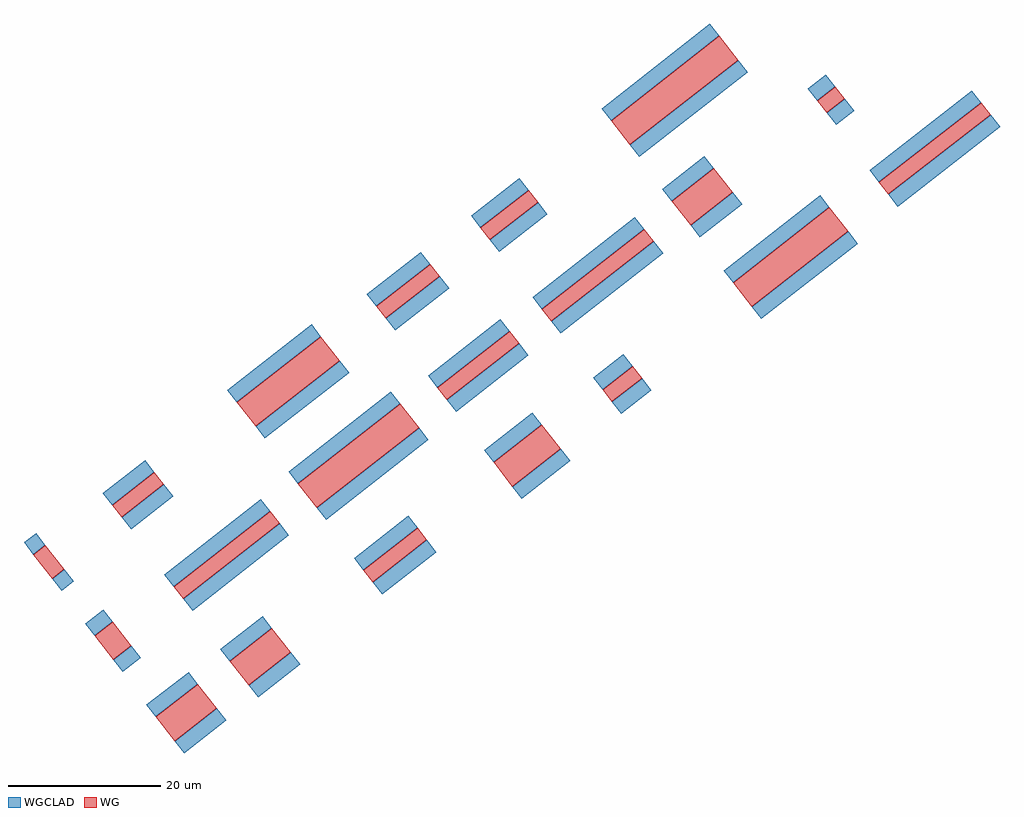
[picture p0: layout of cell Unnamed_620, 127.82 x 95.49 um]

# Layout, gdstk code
from math import pi, radians
import gdstk
lib = gdstk.Library(unit=1e-6, precision=1e-09)
def R(c, l, rs):  # rectangles x0, y0, x1, y1
    for r in rs: c.add(gdstk.rectangle(r[:2], r[2:], *l))
WG = (1, 0)
WGCLAD = (111, 0)

straight_w4000_l18000_lw = lib.new_cell('straight_W4000_L18000_LWG_EWGSTD')
R(straight_w4000_l18000_lw, WG, [(0,-2,18,2)])
R(straight_w4000_l18000_lw, WGCLAD, [(0,-4,18,-2), (0,2,18,4)])

straight_w2000_l8000_lwg = lib.new_cell('straight_W2000_L8000_LWG_EWGSTD')
R(straight_w2000_l8000_lwg, WG, [(0,-1,8,1)])
R(straight_w2000_l8000_lwg, WGCLAD, [(0,-3,8,-1), (0,1,8,3)])

straight_w4000_l14000_lw = lib.new_cell('straight_W4000_L14000_LWG_EWGSTD')
R(straight_w4000_l14000_lw, WG, [(0,-2,14,2)])
R(straight_w4000_l14000_lw, WGCLAD, [(0,-4,14,-2), (0,2,14,4)])

straight_w2000_l5000_lwg = lib.new_cell('straight_W2000_L5000_LWG_EWGSTD')
R(straight_w2000_l5000_lwg, WG, [(0,-1,5,1)])
R(straight_w2000_l5000_lwg, WGCLAD, [(0,-3,5,-1), (0,1,5,3)])

straight_w4000_l17000_lw = lib.new_cell('straight_W4000_L17000_LWG_EWGSTD')
R(straight_w4000_l17000_lw, WG, [(0,-2,17,2)])
R(straight_w4000_l17000_lw, WGCLAD, [(0,-4,17,-2), (0,2,17,4)])

straight_w4000_l8000_lwg = lib.new_cell('straight_W4000_L8000_LWG_EWGSTD')
R(straight_w4000_l8000_lwg, WG, [(0,-2,8,2)])
R(straight_w4000_l8000_lwg, WGCLAD, [(0,-4,8,-2), (0,2,8,4)])

straight_w2000_l17000_lw = lib.new_cell('straight_W2000_L17000_LWG_EWGSTD')
R(straight_w2000_l17000_lw, WG, [(0,-1,17,1)])
R(straight_w2000_l17000_lw, WGCLAD, [(0,-3,17,-1), (0,1,17,3)])

straight_w4000_l16000_lw = lib.new_cell('straight_W4000_L16000_LWG_EWGSTD')
R(straight_w4000_l16000_lw, WG, [(0,-2,16,2)])
R(straight_w4000_l16000_lw, WGCLAD, [(0,-4,16,-2), (0,2,16,4)])

straight_w4000_l7000_lwg = lib.new_cell('straight_W4000_L7000_LWG_EWGSTD')
R(straight_w4000_l7000_lwg, WG, [(0,-2,7,2)])
R(straight_w4000_l7000_lwg, WGCLAD, [(0,-4,7,-2), (0,2,7,4)])

straight_w4000_l3000_lwg = lib.new_cell('straight_W4000_L3000_LWG_EWGSTD')
R(straight_w4000_l3000_lwg, WG, [(0,-2,3,2)])
R(straight_w4000_l3000_lwg, WGCLAD, [(0,-4,3,-2), (0,2,3,4)])

straight_w2000_l9000_lwg = lib.new_cell('straight_W2000_L9000_LWG_EWGSTD')
R(straight_w2000_l9000_lwg, WG, [(0,-1,9,1)])
R(straight_w2000_l9000_lwg, WGCLAD, [(0,-3,9,-1), (0,1,9,3)])

straight_w2000_l16000_lw = lib.new_cell('straight_W2000_L16000_LWG_EWGSTD')
R(straight_w2000_l16000_lw, WG, [(0,-1,16,1)])
R(straight_w2000_l16000_lw, WGCLAD, [(0,-3,16,-1), (0,1,16,3)])

straight_w2000_l12000_lw = lib.new_cell('straight_W2000_L12000_LWG_EWGSTD')
R(straight_w2000_l12000_lw, WG, [(0,-1,12,1)])
R(straight_w2000_l12000_lw, WGCLAD, [(0,-3,12,-1), (0,1,12,3)])

straight_w2000_l3000_lwg = lib.new_cell('straight_W2000_L3000_LWG_EWGSTD')
R(straight_w2000_l3000_lwg, WG, [(0,-1,3,1)])
R(straight_w2000_l3000_lwg, WGCLAD, [(0,-3,3,-1), (0,1,3,3)])

straight_w4000_l2000_lwg = lib.new_cell('straight_W4000_L2000_LWG_EWGSTD')
R(straight_w4000_l2000_lwg, WG, [(0,-2,2,2)])
R(straight_w4000_l2000_lwg, WGCLAD, [(0,-4,2,-2), (0,2,2,4)])

straight_w2000_l7000_lwg = lib.new_cell('straight_W2000_L7000_LWG_EWGSTD')
R(straight_w2000_l7000_lwg, WG, [(0,-1,7,1)])
R(straight_w2000_l7000_lwg, WGCLAD, [(0,-3,7,-1), (0,1,7,3)])

unnamed_620 = lib.new_cell('Unnamed_620')
unnamed_620.add(gdstk.Reference(straight_w4000_l18000_lw, (54.158,85.352), rotation=radians(38)))
unnamed_620.add(gdstk.Reference(straight_w2000_l8000_lwg, (36.44,72.11), rotation=radians(38)))
unnamed_620.add(gdstk.Reference(straight_w4000_l14000_lw, (5.133,48.453), rotation=radians(38)))
unnamed_620.add(gdstk.Reference(straight_w2000_l5000_lwg, (52.426,50.895), rotation=radians(38)))
unnamed_620.add(gdstk.Reference(straight_w4000_l17000_lw, (13.155,37.807), rotation=radians(38)))
unnamed_620.add(gdstk.Reference(straight_w4000_l8000_lwg, (38.783,40.581), rotation=radians(38)))
unnamed_620.add(gdstk.Reference(straight_w2000_l17000_lw, (44.494,61.422), rotation=radians(38)))
unnamed_620.add(gdstk.Reference(straight_w2000_l17000_lw, (88.619,78.037), rotation=radians(38)))
unnamed_620.add(gdstk.Reference(straight_w4000_l16000_lw, (70.15,64.13), rotation=radians(38)))
unnamed_620.add(gdstk.Reference(straight_w4000_l7000_lwg, (-5.463,7.249), rotation=radians(38)))
unnamed_620.add(gdstk.Reference(straight_w4000_l7000_lwg, (4.232,14.555), rotation=radians(38)))
unnamed_620.add(gdstk.Reference(straight_w4000_l7000_lwg, (62.108,74.803), rotation=radians(38)))
unnamed_620.add(gdstk.Reference(straight_w4000_l3000_lwg, (-13.48,17.889), rotation=radians(38)))
unnamed_620.add(gdstk.Reference(straight_w2000_l9000_lwg, (21.109,27.251), rotation=radians(38)))
unnamed_620.add(gdstk.Reference(straight_w2000_l9000_lwg, (22.786,61.81), rotation=radians(38)))
unnamed_620.add(gdstk.Reference(straight_w2000_l16000_lw, (-3.717,25.104), rotation=radians(38)))
unnamed_620.add(gdstk.Reference(straight_w2000_l12000_lw, (30.808,51.164), rotation=radians(38)))
unnamed_620.add(gdstk.Reference(straight_w2000_l3000_lwg, (80.55,88.745), rotation=radians(38)))
unnamed_620.add(gdstk.Reference(straight_w4000_l2000_lwg, (-21.493,28.522), rotation=radians(38)))
unnamed_620.add(gdstk.Reference(straight_w2000_l7000_lwg, (-11.772,35.792), rotation=radians(38)))

lib.write_gds('Unnamed_620.gds')
